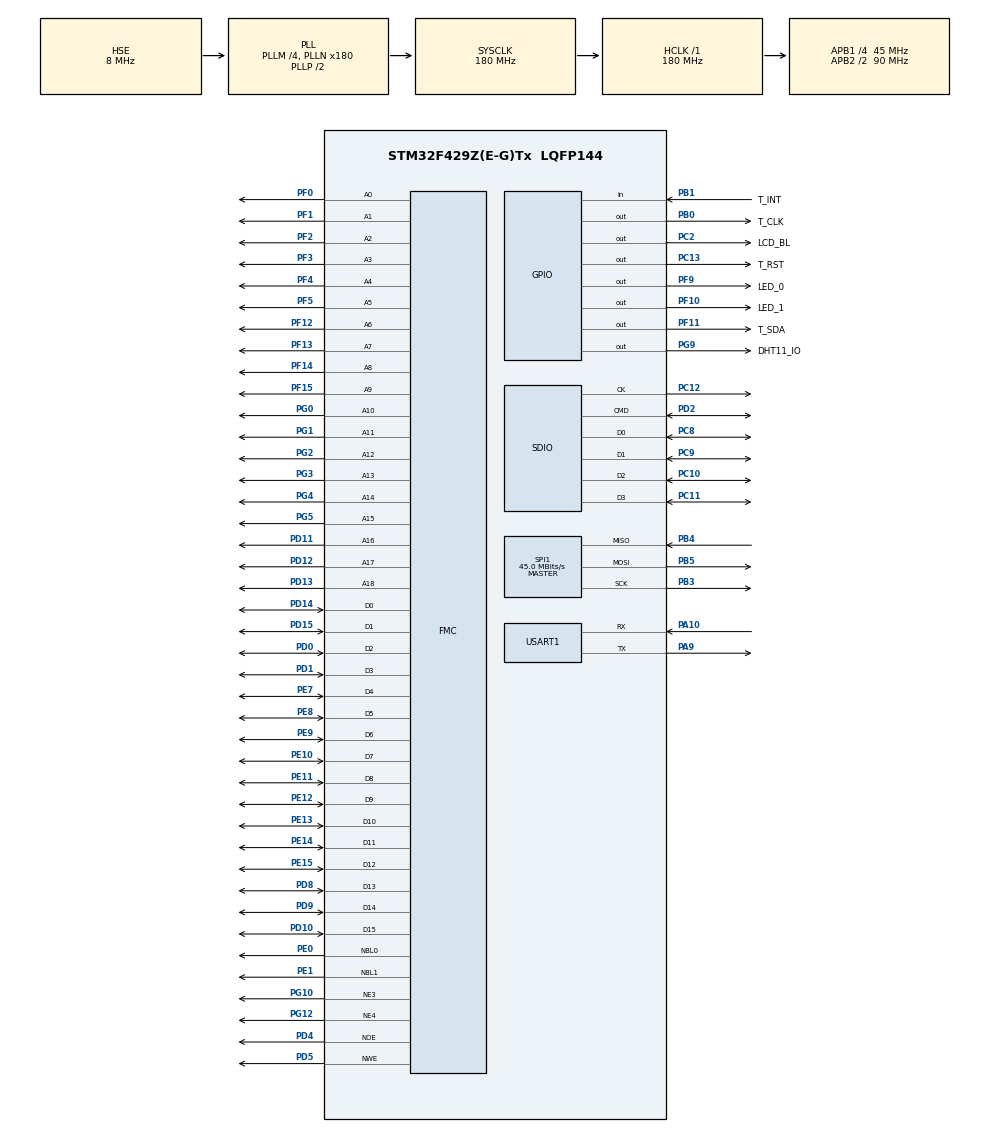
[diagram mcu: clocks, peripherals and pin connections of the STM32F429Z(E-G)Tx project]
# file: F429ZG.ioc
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DMA2D.ColorMode=DMA2D_OUTPUT_RGB565
DMA2D.Mode=DMA2D_M2M
Dma.MEMTOMEM.2.Direction=DMA_MEMORY_TO_MEMORY
Dma.MEMTOMEM.2.FIFOMode=DMA_FIFOMODE_ENABLE
Dma.MEMTOMEM.2.FIFOThreshold=DMA_FIFO_THRESHOLD_FULL
Dma.MEMTOMEM.2.Instance=DMA2_Stream0
Dma.MEMTOMEM.2.MemBurst=DMA_MBURST_SINGLE
Dma.MEMTOMEM.2.MemDataAlignment=DMA_MDATAALIGN_HALFWORD
Dma.MEMTOMEM.2.MemInc=DMA_MINC_DISABLE
Dma.MEMTOMEM.2.Mode=DMA_NORMAL
Dma.MEMTOMEM.2.PeriphBurst=DMA_PBURST_SINGLE
Dma.MEMTOMEM.2.PeriphDataAlignment=DMA_PDATAALIGN_HALFWORD
Dma.MEMTOMEM.2.PeriphInc=DMA_PINC_ENABLE
Dma.MEMTOMEM.2.Priority=DMA_PRIORITY_LOW
Dma.Request0=SDIO_RX
Dma.Request1=SDIO_TX
Dma.Request2=MEMTOMEM
Dma.SDIO_RX.0.Direction=DMA_PERIPH_TO_MEMORY
Dma.SDIO_RX.0.FIFOMode=DMA_FIFOMODE_ENABLE
Dma.SDIO_RX.0.FIFOThreshold=DMA_FIFO_THRESHOLD_FULL
Dma.SDIO_RX.0.Instance=DMA2_Stream3
Dma.SDIO_RX.0.MemBurst=DMA_MBURST_INC4
Dma.SDIO_RX.0.MemDataAlignment=DMA_MDATAALIGN_WORD
Dma.SDIO_RX.0.MemInc=DMA_MINC_ENABLE
Dma.SDIO_RX.0.Mode=DMA_PFCTRL
Dma.SDIO_RX.0.PeriphBurst=DMA_PBURST_INC4
Dma.SDIO_RX.0.PeriphDataAlignment=DMA_PDATAALIGN_WORD
Dma.SDIO_RX.0.PeriphInc=DMA_PINC_DISABLE
Dma.SDIO_RX.0.Priority=DMA_PRIORITY_LOW
Dma.SDIO_TX.1.Direction=DMA_MEMORY_TO_PERIPH
Dma.SDIO_TX.1.FIFOMode=DMA_FIFOMODE_ENABLE
Dma.SDIO_TX.1.FIFOThreshold=DMA_FIFO_THRESHOLD_FULL
Dma.SDIO_TX.1.Instance=DMA2_Stream6
Dma.SDIO_TX.1.MemBurst=DMA_MBURST_INC4
Dma.SDIO_TX.1.MemDataAlignment=DMA_MDATAALIGN_WORD
Dma.SDIO_TX.1.MemInc=DMA_MINC_ENABLE
Dma.SDIO_TX.1.Mode=DMA_PFCTRL
Dma.SDIO_TX.1.PeriphBurst=DMA_PBURST_INC4
Dma.SDIO_TX.1.PeriphDataAlignment=DMA_PDATAALIGN_WORD
Dma.SDIO_TX.1.PeriphInc=DMA_PINC_DISABLE
Dma.SDIO_TX.1.Priority=DMA_PRIORITY_LOW
FATFS._MAX_SS=512
FATFS._USE_LFN=2
FMC.AddressSetupTime1=3
FMC.AddressSetupTime2=0
FMC.BusTurnAroundDuration1=0
FMC.BusTurnAroundDuration2=0
FMC.DataSetupTime1=3
FMC.DataSetupTime2=9
FMC.WriteOperation2=FMC_WRITE_OPERATION_ENABLE
FREERTOS.BinarySemaphores01=Screen_DMA,Dynamic,NULL
FREERTOS.Tasks01=GUITask,8,1024,Lvgl_Task,Default,NULL,Dynamic,NULL,NULL;DHT11Task,24,128,DHT11_Task,Default,NULL,Dynamic,NULL,NULL
FREERTOS.configUSE_NEWLIB_REENTRANT=0
Mcu.Family=STM32F4
Mcu.Name=STM32F429Z(E-G)Tx
Mcu.Package=LQFP144
NVIC.DMA2D_IRQn=true\:5\:0\:false\:false\:true\:true\:true\:true
NVIC.DMA2_Stream0_IRQn=true\:5\:0\:false\:false\:true\:true\:true\:true
NVIC.DMA2_Stream3_IRQn=true\:6\:0\:true\:false\:true\:true\:false\:true
NVIC.DMA2_Stream6_IRQn=true\:6\:0\:true\:false\:true\:true\:false\:true
NVIC.PriorityGroup=NVIC_PRIORITYGROUP_4
NVIC.SDIO_IRQn=true\:5\:0\:false\:false\:true\:true\:true\:true
NVIC.TIM6_DAC_IRQn=true\:0\:0\:false\:false\:true\:false\:false\:true
NVIC.TimeBase=TIM6_DAC_IRQn
NVIC.TimeBaseIP=TIM6
PA10.Mode=Asynchronous
PA10.Signal=USART1_RX
PA13.Mode=Serial_Wire
PA13.Signal=SYS_JTMS-SWDIO
PA14.Mode=Serial_Wire
PA14.Signal=SYS_JTCK-SWCLK
PA9.Mode=Asynchronous
PA9.Signal=USART1_TX
PB0.GPIO_Label=T_CLK
PB0.GPIO_Speed=GPIO_SPEED_FREQ_HIGH
PB0.Signal=GPIO_Output
PB1.GPIO_Label=T_INT
PB1.Signal=GPIO_Input
PB3.Mode=Full_Duplex_Master
PB3.Signal=SPI1_SCK
PB4.Mode=Full_Duplex_Master
PB4.Signal=SPI1_MISO
PB5.Mode=Full_Duplex_Master
PB5.Signal=SPI1_MOSI
PC10.GPIO_PuPd=GPIO_PULLUP
PC10.Mode=SD_4_bits_Wide_bus
PC10.Signal=SDIO_D2
PC11.GPIO_PuPd=GPIO_PULLUP
PC11.Mode=SD_4_bits_Wide_bus
PC11.Signal=SDIO_D3
PC12.Mode=SD_4_bits_Wide_bus
PC12.Signal=SDIO_CK
PC13.GPIO_Label=T_RST
PC13.Signal=GPIO_Output
PC14/OSC32_IN.Mode=LSE-External-Clock-Source
PC14/OSC32_IN.Signal=RCC_OSC32_IN
PC15/OSC32_OUT.Mode=LSE-External-Clock-Source
PC15/OSC32_OUT.Signal=RCC_OSC32_OUT
PC2.GPIO_Label=LCD_BL
PC2.Signal=GPIO_Output
PC8.GPIO_PuPd=GPIO_PULLUP
PC8.Mode=SD_4_bits_Wide_bus
PC8.Signal=SDIO_D0
PC9.GPIO_PuPd=GPIO_PULLUP
PC9.Mode=SD_4_bits_Wide_bus
PC9.Signal=SDIO_D1
PD0.Signal=FMC_D2_DA2
PD1.Signal=FMC_D3_DA3
PD10.Signal=FMC_D15_DA15
PD11.Signal=FMC_A16_CLE
PD12.Signal=FMC_A17_ALE
PD13.Signal=FMC_A18
PD14.Signal=FMC_D0_DA0
PD15.Signal=FMC_D1_DA1
PD2.GPIO_PuPd=GPIO_PULLUP
PD2.Mode=SD_4_bits_Wide_bus
PD2.Signal=SDIO_CMD
PD4.Signal=FMC_NOE
PD5.Signal=FMC_NWE
PD8.Signal=FMC_D13_DA13
PD9.Signal=FMC_D14_DA14
PE0.Signal=FMC_NBL0
PE1.Signal=FMC_NBL1
PE10.Signal=FMC_D7_DA7
PE11.Signal=FMC_D8_DA8
PE12.Signal=FMC_D9_DA9
PE13.Signal=FMC_D10_DA10
PE14.Signal=FMC_D11_DA11
PE15.Signal=FMC_D12_DA12
PE7.Signal=FMC_D4_DA4
PE8.Signal=FMC_D5_DA5
PE9.Signal=FMC_D6_DA6
PF0.Signal=FMC_A0
PF1.Signal=FMC_A1
PF10.GPIO_Label=LED_1
PF10.Signal=GPIO_Output
PF11.GPIO_Label=T_SDA
PF11.GPIO_ModeDefaultOutputPP=GPIO_MODE_OUTPUT_OD
PF11.GPIO_Speed=GPIO_SPEED_FREQ_HIGH
PF11.Signal=GPIO_Output
PF12.Signal=FMC_A6
PF13.Signal=FMC_A7
PF14.Signal=FMC_A8
PF15.Signal=FMC_A9
PF2.Signal=FMC_A2
PF3.Signal=FMC_A3
PF4.Signal=FMC_A4
PF5.Signal=FMC_A5
PF9.GPIO_Label=LED_0
PF9.Signal=GPIO_Output
PG0.Signal=FMC_A10
PG1.Signal=FMC_A11
PG10.Mode=NorPsramChipSelect3_2
PG10.Signal=FMC_NE3
PG12.Mode=NorPsramChipSelect4_1
PG12.Signal=FMC_NE4
PG2.Signal=FMC_A12
PG3.Signal=FMC_A13
PG4.Signal=FMC_A14_BA0
PG5.Signal=FMC_A15_BA1
PG9.GPIO_Label=DHT11_IO
PG9.Signal=GPIO_Output
PH0/OSC_IN.Mode=HSE-External-Oscillator
PH0/OSC_IN.Signal=RCC_OSC_IN
PH1/OSC_OUT.Mode=HSE-External-Oscillator
PH1/OSC_OUT.Signal=RCC_OSC_OUT
ProjectManager.HeapSize=0x400
ProjectManager.StackSize=0x800
ProjectManager.TargetToolchain=MDK-ARM V5.27
RCC.48MHZClocksFreq_Value=45000000
RCC.AHBFreq_Value=180000000
RCC.APB1CLKDivider=RCC_HCLK_DIV4
RCC.APB1Freq_Value=45000000
RCC.APB1TimFreq_Value=90000000
RCC.APB2CLKDivider=RCC_HCLK_DIV2
RCC.APB2Freq_Value=90000000
RCC.APB2TimFreq_Value=180000000
RCC.CortexFreq_Value=180000000
RCC.HCLKFreq_Value=180000000
RCC.HSE_VALUE=8000000
RCC.HSI_VALUE=16000000
RCC.LSE_VALUE=32768
RCC.PLLM=4
RCC.PLLN=180
RCC.PLLQ=8
RCC.PLLSourceVirtual=RCC_PLLSOURCE_HSE
RCC.SYSCLKFreq_VALUE=180000000
RCC.SYSCLKSource=RCC_SYSCLKSOURCE_PLLCLK
RCC.VCOOutputFreq_Value=360000000
SH.FMC_A0.0=FMC_A0,19b-a2
SH.FMC_A1.0=FMC_A1,19b-a2
SH.FMC_A10.0=FMC_A10,19b-a2
SH.FMC_A11.0=FMC_A11,19b-a2
SH.FMC_A12.0=FMC_A12,19b-a2
SH.FMC_A13.0=FMC_A13,19b-a2
SH.FMC_A14_BA0.0=FMC_A14,19b-a2
SH.FMC_A15_BA1.0=FMC_A15,19b-a2
SH.FMC_A16_CLE.0=FMC_A16,19b-a2
SH.FMC_A17_ALE.0=FMC_A17,19b-a2
SH.FMC_A18.0=FMC_A18,19b-a2
SH.FMC_A2.0=FMC_A2,19b-a2
SH.FMC_A3.0=FMC_A3,19b-a2
SH.FMC_A4.0=FMC_A4,19b-a2
SH.FMC_A5.0=FMC_A5,19b-a2
SH.FMC_A6.0=FMC_A6,A6_1
SH.FMC_A6.1=FMC_A6,19b-a2
SH.FMC_A7.0=FMC_A7,19b-a2
SH.FMC_A8.0=FMC_A8,19b-a2
SH.FMC_A9.0=FMC_A9,19b-a2
SH.FMC_D0_DA0.0=FMC_D0,16b-d1
SH.FMC_D0_DA0.1=FMC_D0,16b-d2
SH.FMC_D10_DA10.0=FMC_D10,16b-d1
SH.FMC_D10_DA10.1=FMC_D10,16b-d2
SH.FMC_D11_DA11.0=FMC_D11,16b-d1
SH.FMC_D11_DA11.1=FMC_D11,16b-d2
SH.FMC_D12_DA12.0=FMC_D12,16b-d1
SH.FMC_D12_DA12.1=FMC_D12,16b-d2
SH.FMC_D13_DA13.0=FMC_D13,16b-d1
SH.FMC_D13_DA13.1=FMC_D13,16b-d2
SH.FMC_D14_DA14.0=FMC_D14,16b-d1
SH.FMC_D14_DA14.1=FMC_D14,16b-d2
SH.FMC_D15_DA15.0=FMC_D15,16b-d1
SH.FMC_D15_DA15.1=FMC_D15,16b-d2
SH.FMC_D1_DA1.0=FMC_D1,16b-d1
SH.FMC_D1_DA1.1=FMC_D1,16b-d2
SH.FMC_D2_DA2.0=FMC_D2,16b-d1
SH.FMC_D2_DA2.1=FMC_D2,16b-d2
SH.FMC_D3_DA3.0=FMC_D3,16b-d1
SH.FMC_D3_DA3.1=FMC_D3,16b-d2
SH.FMC_D4_DA4.0=FMC_D4,16b-d1
SH.FMC_D4_DA4.1=FMC_D4,16b-d2
SH.FMC_D5_DA5.0=FMC_D5,16b-d1
SH.FMC_D5_DA5.1=FMC_D5,16b-d2
SH.FMC_D6_DA6.0=FMC_D6,16b-d1
SH.FMC_D6_DA6.1=FMC_D6,16b-d2
SH.FMC_D7_DA7.0=FMC_D7,16b-d1
SH.FMC_D7_DA7.1=FMC_D7,16b-d2
SH.FMC_D8_DA8.0=FMC_D8,16b-d1
SH.FMC_D8_DA8.1=FMC_D8,16b-d2
SH.FMC_D9_DA9.0=FMC_D9,16b-d1
SH.FMC_D9_DA9.1=FMC_D9,16b-d2
SH.FMC_NBL0.0=FMC_NBL0,2ByteEnable2
SH.FMC_NBL1.0=FMC_NBL1,2ByteEnable2
SH.FMC_NOE.0=FMC_NOE,Lcd1
SH.FMC_NOE.1=FMC_NOE,Sram2
SH.FMC_NWE.0=FMC_NWE,Lcd1
SH.FMC_NWE.1=FMC_NWE,Sram2
SPI1.CalculateBaudRate=45.0 MBits/s
SPI1.Direction=SPI_DIRECTION_2LINES
SPI1.Mode=SPI_MODE_MASTER
SPI1.VirtualType=VM_MASTER
TIM7.AutoReloadPreload=TIM_AUTORELOAD_PRELOAD_ENABLE
TIM7.Period=0xFFFF-1
TIM7.Prescaler=180-1
USART1.VirtualMode=VM_ASYNC
VP_DMA2D_VS_DMA2D.Mode=DMA2D_Activate
VP_FATFS_VS_SDIO.Mode=SDIO
VP_FREERTOS_VS_CMSIS_V2.Mode=CMSIS_V2
VP_SYS_VS_tim6.Mode=TIM6
VP_TIM7_VS_ClockSourceINT.Mode=Enable_Timer
board=custom

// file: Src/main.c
/* USER CODE BEGIN Header */
/**
  ******************************************************************************
  * @file           : main.c
  * @brief          : Main program body
  ******************************************************************************
  * @attention
  *
  * <h2><center>&copy; Copyright (c) 2020 STMicroelectronics.
  * All rights reserved.</center></h2>
  *
  * This software component is licensed by ST under BSD 3-Clause license,
  * the "License"; You may not use this file except in compliance with the
  * License. You may obtain a copy of the License at:
  *                        opensource.org/licenses/BSD-3-Clause
  *
  ******************************************************************************
  */
/* USER CODE END Header */

#include "main.h"
#include "cmsis_os.h"
#include "dma.h"
#include "dma2d.h"
#include "fatfs.h"
#include "sdio.h"
#include "spi.h"
#include "tim.h"
#include "usart.h"
#include "gpio.h"
#include "fmc.h"

void SystemClock_Config(void);
void MX_FREERTOS_Init(void);

int main(void)
{

  /* MCU Configuration--------------------------------------------------------*/

  /* Reset of all peripherals, Initializes the Flash interface and the Systick. */
  HAL_Init();

  /* Configure the system clock */
  SystemClock_Config();

  /* Initialize all configured peripherals */
  MX_GPIO_Init();
  MX_DMA_Init();
  MX_DMA2D_Init();
  MX_FMC_Init();
  MX_SPI1_Init();
  MX_USART1_UART_Init();
  MX_TIM7_Init();
  MX_SDIO_SD_Init();
  MX_FATFS_Init();

  /* Init scheduler */
  osKernelInitialize();  /* Call init function for freertos objects (in freertos.c) */
  MX_FREERTOS_Init();
  /* Start scheduler */
  osKernelStart();

  /* We should never get here as control is now taken by the scheduler */
  /* Infinite loop */
  while (1)
  {

  }
}

void SystemClock_Config(void)
{
  RCC_OscInitTypeDef RCC_OscInitStruct = {0};
  RCC_ClkInitTypeDef RCC_ClkInitStruct = {0};

  /** Configure the main internal regulator output voltage
  */
  __HAL_RCC_PWR_CLK_ENABLE();
  __HAL_PWR_VOLTAGESCALING_CONFIG(PWR_REGULATOR_VOLTAGE_SCALE1);
  /** Initializes the CPU, AHB and APB busses clocks
  */
  RCC_OscInitStruct.OscillatorType = RCC_OSCILLATORTYPE_HSE;
  RCC_OscInitStruct.HSEState = RCC_HSE_ON;
  RCC_OscInitStruct.PLL.PLLState = RCC_PLL_ON;
  RCC_OscInitStruct.PLL.PLLSource = RCC_PLLSOURCE_HSE;
  RCC_OscInitStruct.PLL.PLLM = 4;
  RCC_OscInitStruct.PLL.PLLN = 180;
  RCC_OscInitStruct.PLL.PLLP = RCC_PLLP_DIV2;
  RCC_OscInitStruct.PLL.PLLQ = 8;
  if (HAL_RCC_OscConfig(&RCC_OscInitStruct) != HAL_OK)
  {
    Error_Handler();
  }
  /** Activate the Over-Drive mode
  */
  if (HAL_PWREx_EnableOverDrive() != HAL_OK)
  {
    Error_Handler();
  }
  /** Initializes the CPU, AHB and APB busses clocks
  */
  RCC_ClkInitStruct.ClockType = RCC_CLOCKTYPE_HCLK|RCC_CLOCKTYPE_SYSCLK
                              |RCC_CLOCKTYPE_PCLK1|RCC_CLOCKTYPE_PCLK2;
  RCC_ClkInitStruct.SYSCLKSource = RCC_SYSCLKSOURCE_PLLCLK;
  RCC_ClkInitStruct.AHBCLKDivider = RCC_SYSCLK_DIV1;
  RCC_ClkInitStruct.APB1CLKDivider = RCC_HCLK_DIV4;
  RCC_ClkInitStruct.APB2CLKDivider = RCC_HCLK_DIV2;

  if (HAL_RCC_ClockConfig(&RCC_ClkInitStruct, FLASH_LATENCY_5) != HAL_OK)
  {
    Error_Handler();
  }
}

 /**
  * @brief  Period elapsed callback in non blocking mode
  * @note   This function is called  when TIM6 interrupt took place, inside
  * HAL_TIM_IRQHandler(). It makes a direct call to HAL_IncTick() to increment
  * a global variable "uwTick" used as application time base.
  * @param  htim : TIM handle
  * @retval None
  */
void HAL_TIM_PeriodElapsedCallback(TIM_HandleTypeDef *htim)
{
  if (htim->Instance == TIM6) {
    HAL_IncTick();
  }
}

void Error_Handler(void)
{
}

/************************ (C) COPYRIGHT STMicroelectronics *****END OF FILE****/

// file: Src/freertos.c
/* USER CODE BEGIN Header */
/**
  ******************************************************************************
  * File Name          : freertos.c
  * Description        : Code for freertos applications
  ******************************************************************************
  * @attention
  *
  * <h2><center>&copy; Copyright (c) 2020 STMicroelectronics.
  * All rights reserved.</center></h2>
  *
  * This software component is licensed by ST under Ultimate Liberty license
  * SLA0044, the "License"; You may not use this file except in compliance with
  * the License. You may obtain a copy of the License at:
  *                             www.st.com/SLA0044
  *
  ******************************************************************************
  */
/* USER CODE END Header */

#include "FreeRTOS.h"
#include "task.h"
#include "main.h"
#include "cmsis_os.h"

/* USER CODE BEGIN Includes */
#include "dht11_driver.h"
#include "string.h"
#include "lvgl.h"
#include "lv_examples.h"
#include "lv_box.h"
#include "ILI9488.h"
#include "gt5xx.h"
#include "dma2d.h"
/* USER CODE END Includes */

/* Definitions for GUITask */
osThreadId_t GUITaskHandle;
const osThreadAttr_t GUITask_attributes = {
    .name = "GUITask",
    .priority = (osPriority_t)osPriorityLow,
    .stack_size = 1024 * 4};
/* Definitions for DHT11Task */
osThreadId_t DHT11TaskHandle;
const osThreadAttr_t DHT11Task_attributes = {
    .name = "DHT11Task",
    .priority = (osPriority_t)osPriorityNormal,
    .stack_size = 128 * 4};
/* Definitions for Screen_DMA */
osSemaphoreId_t Screen_DMAHandle;
const osSemaphoreAttr_t Screen_DMA_attributes = {
    .name = "Screen_DMA"};

void Lvgl_Task(void *argument);
void DHT11_Task(void *argument);

void MX_FREERTOS_Init(void); /* (MISRA C 2004 rule 8.1) */

void MX_FREERTOS_Init(void)
{

  /* Create the semaphores(s) */
  /* creation of Screen_DMA */
  Screen_DMAHandle = osSemaphoreNew(1, 1, &Screen_DMA_attributes);

  /* Create the thread(s) */
  /* creation of GUITask */
  GUITaskHandle = osThreadNew(Lvgl_Task, NULL, &GUITask_attributes);

  /* creation of DHT11Task */
  DHT11TaskHandle = osThreadNew(DHT11_Task, NULL, &DHT11Task_attributes);

}

void Lvgl_Task(void *argument)
{
  /* USER CODE BEGIN Lvgl_Task */
  //lv_demo_widgets();
  lv_init();
  lv_port_fs_init();
  lv_port_disp_init();
  lv_port_indev_init();
  //lv_demo_widgets();
  //lv_demo_benchmark();
  lv_box_demo();
  /* Infinite loop */
  for (;;)
  {
    lv_task_handler();
    osDelay(10);
  }
  /* USER CODE END Lvgl_Task */
}

void DHT11_Task(void *argument)
{
  /* USER CODE BEGIN DHT11_Task */
  DHT11_Data_TypeDef DHT11_Data;
  /* Infinite loop */
  for (;;)
  {
    osDelay(1000);
  }
  /* USER CODE END DHT11_Task */
}

/************************ (C) COPYRIGHT STMicroelectronics *****END OF FILE****/
